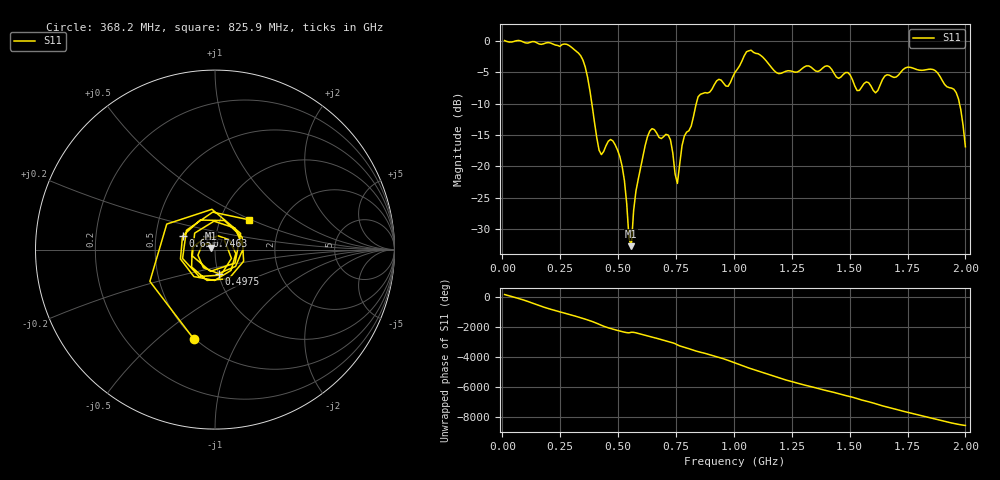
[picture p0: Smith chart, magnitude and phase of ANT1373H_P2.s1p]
!Created with skrf (http://scikit-rf.org).
# Hz S RI R 50.0
!freq ReS11 ImS11
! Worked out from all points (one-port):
!   201 points, 10 MHz to 2 GHz, reference 50 ohm
!   lowest |S11| = -32.7 dB at 557.2 MHz (marker M1), VSWR 1.05, Z = 47.9 + j0.875 ohm
!   |S11| at or under -10 dB: 386.7 MHz to 837.9 MHz (451.1 MHz wide, 73.7 % of centre); 1.974 GHz to end of sweep
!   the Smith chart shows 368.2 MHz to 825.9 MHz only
!   S11 on the Smith chart (normalised r, x): 368.2 MHz: 0.49, -0.67; 497.6 MHz: 1.00, -0.27; 656.8 MHz: 0.69, +0.11; 746.3 MHz: 0.91, +0.14; 825.9 MHz: 1.36, +0.48
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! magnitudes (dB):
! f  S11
! 10 MHz  0.0
! 258.8 MHz  -0.6
! 338.4 MHz  -2.4
! 368.2 MHz  -5.8
! 417.9 MHz  -17.4
! 497.6 MHz  -17.4
! 507.5 MHz  -18.4
! 527.4 MHz  -22.3
! 557.2 MHz  -32.7
! 567.2 MHz  -27.0
! 587.1 MHz  -22.1
! 626.9 MHz  -15.3
! 656.8 MHz  -14.2
! 726.4 MHz  -15.8
! 746.3 MHz  -21.2
! 756.2 MHz  -22.7
! 786.1 MHz  -15.2
! 825.9 MHz  -12.0
! 845.8 MHz  -8.9
! 1.005 GHz  -5.0
! 1.075 GHz  -1.5
! 1.254 GHz  -4.9
! 1.502 GHz  -5.5
! 1.612 GHz  -8.3
! 1.751 GHz  -4.2
! 1.95 GHz  -7.7
! 1.98 GHz  -11.0
! 2 GHz  -16.9
